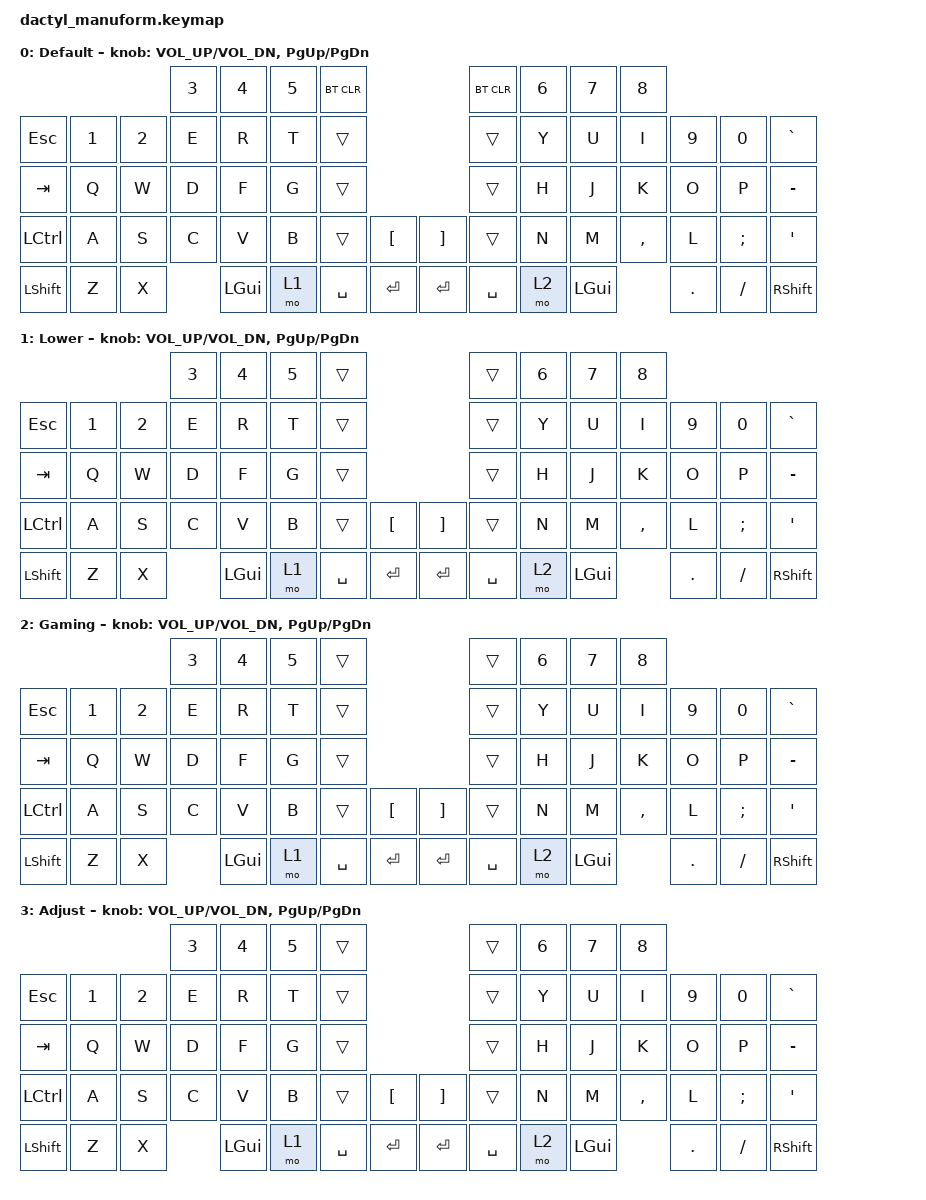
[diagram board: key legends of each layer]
#include <behaviors.dtsi>
#include <dt-bindings/zmk/keys.h>
#include <dt-bindings/zmk/bt.h>
#include <dt-bindings/zmk/outputs.h>

#define DEFAULT 0
#define LOWER   1
#define RAISE   2
#define ADJUST  3





/ {
    keymap {
        compatible = "zmk,keymap";
        default_layer {
            display-name = "Default";
            bindings = <
                                        &kp N3    &kp N4   &kp N5   &bt BT_CLR                                 &bt BT_CLR &kp N6    &kp N7  &kp N8    
           &kp ESC   &kp N1   &kp N2    &kp E    &kp R     &kp T    &trans                                     &trans     &kp Y     &kp U   &kp I      &kp N9    &kp N0   &kp GRAVE    
           &kp TAB   &kp Q    &kp W     &kp D    &kp F     &kp G    &trans                                     &trans     &kp H     &kp J   &kp K      &kp O     &kp P    &kp MINUS 
           &kp LCTRL &kp A    &kp S     &kp C    &kp V     &kp B    &trans       &kp LBKT           &kp RBKT   &trans     &kp N     &kp M   &kp COMMA  &kp L     &kp SEMI &kp SQT
           &kp LSHFT &kp Z    &kp X              &kp LGUI  &mo 1    &kp SPACE    &kp RET            &kp RET    &kp SPACE  &mo 2     &kp LGUI           &kp DOT   &kp FSLH &kp RSHFT      
   
                                                         
            >;
sensor-bindings = <&inc_dec_kp C_VOL_UP C_VOL_DN &inc_dec_kp PG_UP PG_DN>;
        };
        lower_layer {
            display-name = "Lower";
            bindings = <
                                        &kp N3    &kp N4   &kp N5   &trans                                     &trans     &kp N6    &kp N7  &kp N8    
           &kp ESC   &kp N1   &kp N2    &kp E    &kp R     &kp T    &trans                                     &trans     &kp Y     &kp U   &kp I      &kp N9    &kp N0   &kp GRAVE    
           &kp TAB   &kp Q    &kp W     &kp D    &kp F     &kp G    &trans                                     &trans     &kp H     &kp J   &kp K      &kp O     &kp P    &kp MINUS 
           &kp LCTRL &kp A    &kp S     &kp C    &kp V     &kp B    &trans       &kp LBKT           &kp RBKT   &trans     &kp N     &kp M   &kp COMMA  &kp L     &kp SEMI &kp SQT
           &kp LSHFT &kp Z    &kp X              &kp LGUI  &mo 1    &kp SPACE    &kp RET            &kp RET    &kp SPACE  &mo 2     &kp LGUI           &kp DOT   &kp FSLH &kp RSHFT 
            >;      
sensor-bindings = <&inc_dec_kp C_VOL_UP C_VOL_DN &inc_dec_kp PG_UP PG_DN>;};

        raise_layer {
            display-name = "Gaming";
            bindings = <
                                        &kp N3    &kp N4   &kp N5   &trans                                     &trans     &kp N6    &kp N7  &kp N8    
           &kp ESC   &kp N1   &kp N2    &kp E    &kp R     &kp T    &trans                                     &trans     &kp Y     &kp U   &kp I      &kp N9    &kp N0   &kp GRAVE    
           &kp TAB   &kp Q    &kp W     &kp D    &kp F     &kp G    &trans                                     &trans     &kp H     &kp J   &kp K      &kp O     &kp P    &kp MINUS 
           &kp LCTRL &kp A    &kp S     &kp C    &kp V     &kp B    &trans       &kp LBKT           &kp RBKT   &trans     &kp N     &kp M   &kp COMMA  &kp L     &kp SEMI &kp SQT
           &kp LSHFT &kp Z    &kp X              &kp LGUI  &mo 1    &kp SPACE    &kp RET            &kp RET    &kp SPACE  &mo 2     &kp LGUI           &kp DOT   &kp FSLH &kp RSHFT  
            >;
sensor-bindings = <&inc_dec_kp C_VOL_UP C_VOL_DN &inc_dec_kp PG_UP PG_DN>;
        };

        
        adjust_layer {
            display-name = "Adjust";
            bindings = <
                                        &kp N3    &kp N4   &kp N5   &trans                                     &trans     &kp N6    &kp N7  &kp N8    
           &kp ESC   &kp N1   &kp N2    &kp E    &kp R     &kp T    &trans                                     &trans     &kp Y     &kp U   &kp I      &kp N9    &kp N0   &kp GRAVE    
           &kp TAB   &kp Q    &kp W     &kp D    &kp F     &kp G    &trans                                     &trans     &kp H     &kp J   &kp K      &kp O     &kp P    &kp MINUS 
           &kp LCTRL &kp A    &kp S     &kp C    &kp V     &kp B    &trans       &kp LBKT           &kp RBKT   &trans     &kp N     &kp M   &kp COMMA  &kp L     &kp SEMI &kp SQT
           &kp LSHFT &kp Z    &kp X              &kp LGUI  &mo 1    &kp SPACE    &kp RET            &kp RET    &kp SPACE  &mo 2     &kp LGUI           &kp DOT   &kp FSLH &kp RSHFT 
            >;
sensor-bindings = <&inc_dec_kp C_VOL_UP C_VOL_DN &inc_dec_kp PG_UP PG_DN>;
        };
    };
};
